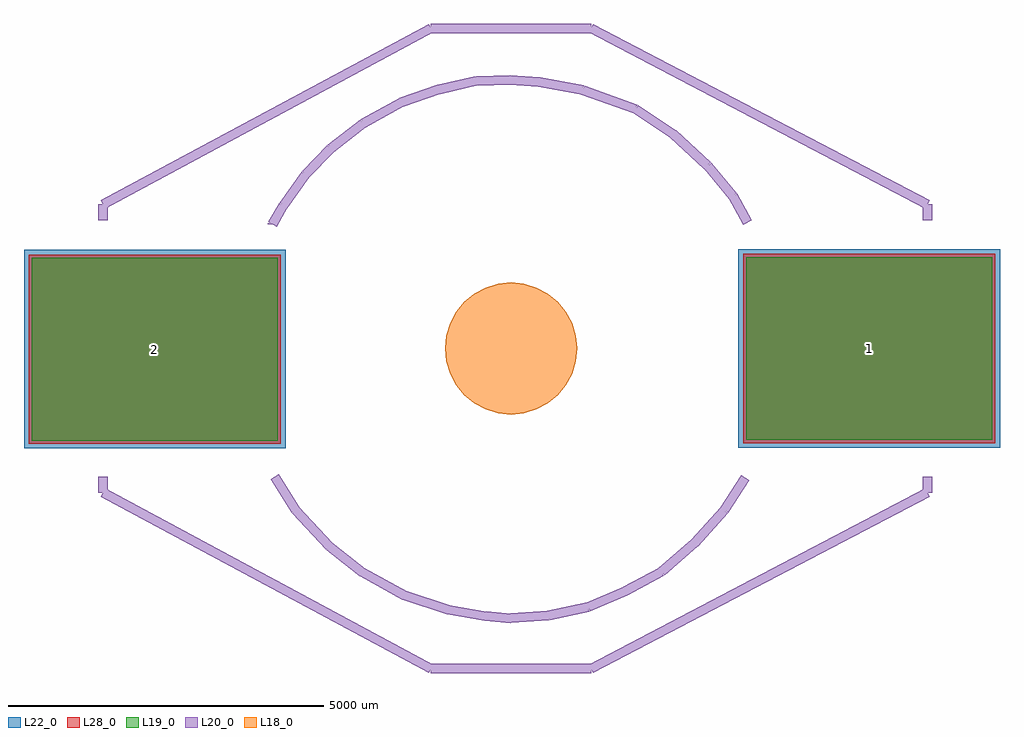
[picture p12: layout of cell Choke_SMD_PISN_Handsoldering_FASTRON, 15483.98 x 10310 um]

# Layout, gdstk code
import gdstk
lib = gdstk.Library(unit=1e-6, precision=1e-09)
def R(c, l, rs):  # rectangles x0, y0, x1, y1
    for r in rs: c.add(gdstk.rectangle(r[:2], r[2:], *l))
def P(c, l, *ps):  # polygons
    for p in ps: c.add(gdstk.Polygon(p, *l))
L18_0 = (18, 0)
L19_0 = (19, 0)
L20_0 = (20, 0)
L22_0 = (22, 0)
L28_0 = (28, 0)

choke_smd_pisn_handsolde = lib.new_cell('Choke_SMD_PISN_Handsoldering_FASTRON')
P(choke_smd_pisn_handsolde, L18_0, [(254,0),(249.119,49.553),(234.665,97.202),(211.193,141.115),(179.605,179.605),(141.115,211.193),(97.202,234.665),(49.553,249.119),(0,254),(-49.553,249.119),(-97.202,234.665),(-141.115,211.193),(-179.605,179.605),(-211.193,141.115),(-234.665,97.202),(-249.119,49.553),(-254,0),(-249.119,-49.553),(-234.665,-97.202),(-211.193,-141.115),(-179.605,-179.605),(-141.115,-211.193),(-97.202,-234.665),(-49.553,-249.119),(0,-254),(49.553,-249.119),(97.202,-234.665),(141.115,-211.193),(179.605,-179.605),(211.193,-141.115),(234.665,-97.202),(249.119,-49.553)],
  [(508,0),(498.239,99.106),(469.331,194.403),(422.387,282.23),(359.21,359.21),(282.23,422.387),(194.403,469.331),(99.106,498.239),(0,508),(-99.106,498.239),(-194.403,469.331),(-282.23,422.387),(-359.21,359.21),(-422.387,282.23),(-469.331,194.403),(-498.239,99.106),(-508,0),(-498.239,-99.106),(-469.331,-194.403),(-422.387,-282.23),(-359.21,-359.21),(-282.23,-422.387),(-194.403,-469.331),(-99.106,-498.239),(0,-508),(99.106,-498.239),(194.403,-469.331),(282.23,-422.387),(359.21,-359.21),(422.387,-282.23),(469.331,-194.403),(498.239,-99.106)],
  [(803.218,0),(787.784,156.7),(742.077,307.378),(667.851,446.244),(567.961,567.961),(446.244,667.851),(307.378,742.077),(156.7,787.784),(0,803.218),(-156.7,787.784),(-307.378,742.077),(-446.244,667.851),(-567.961,567.961),(-667.851,446.244),(-742.077,307.378),(-787.784,156.7),(-803.218,0),(-787.784,-156.7),(-742.077,-307.378),(-667.851,-446.244),(-567.961,-567.961),(-446.244,-667.851),(-307.378,-742.077),(-156.7,-787.784),(0,-803.218),(156.7,-787.784),(307.378,-742.077),(446.244,-667.851),(567.961,-567.961),(667.851,-446.244),(742.077,-307.378),(787.784,-156.7)],
  [(1047.268,0),(1027.145,204.312),(967.549,400.772),(870.772,581.831),(740.53,740.53),(581.831,870.772),(400.772,967.549),(204.312,1027.145),(0,1047.268),(-204.312,1027.145),(-400.772,967.549),(-581.831,870.772),(-740.53,740.53),(-870.772,581.831),(-967.549,400.772),(-1027.145,204.312),(-1047.268,0),(-1027.145,-204.312),(-967.549,-400.772),(-870.772,-581.831),(-740.53,-740.53),(-581.831,-870.772),(-400.772,-967.549),(-204.312,-1027.145),(0,-1047.268),(204.312,-1027.145),(400.772,-967.549),(581.831,-870.772),(740.53,-740.53),(870.772,-581.831),(967.549,-400.772),(1027.145,-204.312)])
R(choke_smd_pisn_handsolde, L19_0, [(-7601.75,-1460.03,-3701.25,1439.71), (3731.73,-1449.87,7632.23,1449.87)])
R(choke_smd_pisn_handsolde, L22_0, [(-7726.75,-1585.03,-3576.25,1564.71), (3606.73,-1574.87,7757.23,1574.87)])
R(choke_smd_pisn_handsolde, L28_0, [(-7651.75,-1510.03,-3651.25,1489.71), (3681.73,-1499.87,7682.23,1499.87)])
choke_smd_pisn_handsolde.add(gdstk.FlexPath([(-1270,5080),(-6477,2286)], 149.998, ends="flush", simple_path=True, layer=20, datatype=0))  # L20_0
choke_smd_pisn_handsolde.add(gdstk.FlexPath([(-6477,2286),(-6477,2032)], 149.998, ends="flush", simple_path=True, layer=20, datatype=0))  # L20_0
choke_smd_pisn_handsolde.add(gdstk.FlexPath([(6604,2286),(6604,2032)], 149.998, ends="flush", simple_path=True, layer=20, datatype=0))  # L20_0
choke_smd_pisn_handsolde.add(gdstk.FlexPath([(1270,5080),(6604,2286)], 149.998, ends="flush", simple_path=True, layer=20, datatype=0))  # L20_0
choke_smd_pisn_handsolde.add(gdstk.FlexPath([(-6477,-2286),(-6477,-2032)], 149.998, ends="flush", simple_path=True, layer=20, datatype=0))  # L20_0
choke_smd_pisn_handsolde.add(gdstk.FlexPath([(-1270,-5080),(-6477,-2286)], 149.998, ends="flush", simple_path=True, layer=20, datatype=0))  # L20_0
choke_smd_pisn_handsolde.add(gdstk.FlexPath([(6604,-2286),(6604,-2032)], 149.998, ends="flush", simple_path=True, layer=20, datatype=0))  # L20_0
choke_smd_pisn_handsolde.add(gdstk.FlexPath([(1270,-5080),(6604,-2286)], 149.998, ends="flush", simple_path=True, layer=20, datatype=0))  # L20_0
choke_smd_pisn_handsolde.add(gdstk.FlexPath([(-1270,-5080),(1270,-5080)], 149.998, ends="flush", simple_path=True, layer=20, datatype=0))  # L20_0
choke_smd_pisn_handsolde.add(gdstk.FlexPath([(-1270,5080),(1270,5080)], 149.998, ends="flush", simple_path=True, layer=20, datatype=0))  # L20_0
choke_smd_pisn_handsolde.add(gdstk.FlexPath([(3383.28,-2565.4),(3713.48,-2052.32)], 149.998, ends="flush", simple_path=True, layer=20, datatype=0))  # L20_0
choke_smd_pisn_handsolde.add(gdstk.FlexPath([(2915.92,-3083.56),(3383.28,-2565.4)], 149.998, ends="flush", simple_path=True, layer=20, datatype=0))  # L20_0
choke_smd_pisn_handsolde.add(gdstk.FlexPath([(2387.6,-3540.76),(2915.92,-3083.56)], 149.998, ends="flush", simple_path=True, layer=20, datatype=0))  # L20_0
choke_smd_pisn_handsolde.add(gdstk.FlexPath([(1818.64,-3845.56),(2387.6,-3540.76)], 149.998, ends="flush", simple_path=True, layer=20, datatype=0))  # L20_0
choke_smd_pisn_handsolde.add(gdstk.FlexPath([(1224.28,-4099.56),(1818.64,-3845.56)], 149.998, ends="flush", simple_path=True, layer=20, datatype=0))  # L20_0
choke_smd_pisn_handsolde.add(gdstk.FlexPath([(594.36,-4236.72),(1224.28,-4099.56)], 149.998, ends="flush", simple_path=True, layer=20, datatype=0))  # L20_0
choke_smd_pisn_handsolde.add(gdstk.FlexPath([(0,-4272.28),(594.36,-4236.72)], 149.998, ends="flush", simple_path=True, layer=20, datatype=0))  # L20_0
choke_smd_pisn_handsolde.add(gdstk.FlexPath([(-3418.84,-2565.4),(-3749.04,-2032)], 149.998, ends="flush", simple_path=True, layer=20, datatype=0))  # L20_0
choke_smd_pisn_handsolde.add(gdstk.FlexPath([(-2880.36,-3139.44),(-3418.84,-2565.4)], 149.998, ends="flush", simple_path=True, layer=20, datatype=0))  # L20_0
choke_smd_pisn_handsolde.add(gdstk.FlexPath([(-2357.12,-3550.92),(-2880.36,-3139.44)], 149.998, ends="flush", simple_path=True, layer=20, datatype=0))  # L20_0
choke_smd_pisn_handsolde.add(gdstk.FlexPath([(-1691.64,-3916.68),(-2357.12,-3550.92)], 149.998, ends="flush", simple_path=True, layer=20, datatype=0))  # L20_0
choke_smd_pisn_handsolde.add(gdstk.FlexPath([(-995.68,-4145.28),(-1691.64,-3916.68)], 149.998, ends="flush", simple_path=True, layer=20, datatype=0))  # L20_0
choke_smd_pisn_handsolde.add(gdstk.FlexPath([(-401.32,-4246.88),(-995.68,-4145.28)], 149.998, ends="flush", simple_path=True, layer=20, datatype=0))  # L20_0
choke_smd_pisn_handsolde.add(gdstk.FlexPath([(0,-4282.44),(-401.32,-4246.88)], 149.998, ends="flush", simple_path=True, layer=20, datatype=0))  # L20_0
choke_smd_pisn_handsolde.add(gdstk.FlexPath([(3520.44,2418.08),(3749.04,1996.44)], 149.998, ends="flush", simple_path=True, layer=20, datatype=0))  # L20_0
choke_smd_pisn_handsolde.add(gdstk.FlexPath([(3119.12,2900.68),(3520.44,2418.08)], 149.998, ends="flush", simple_path=True, layer=20, datatype=0))  # L20_0
choke_smd_pisn_handsolde.add(gdstk.FlexPath([(2570.48,3403.6),(3119.12,2900.68)], 149.998, ends="flush", simple_path=True, layer=20, datatype=0))  # L20_0
choke_smd_pisn_handsolde.add(gdstk.FlexPath([(1976.12,3799.84),(2570.48,3403.6)], 149.998, ends="flush", simple_path=True, layer=20, datatype=0))  # L20_0
choke_smd_pisn_handsolde.add(gdstk.FlexPath([(1143,4099.56),(1976.12,3799.84)], 149.998, ends="flush", simple_path=True, layer=20, datatype=0))  # L20_0
choke_smd_pisn_handsolde.add(gdstk.FlexPath([(447.04,4226.56),(1143,4099.56)], 149.998, ends="flush", simple_path=True, layer=20, datatype=0))  # L20_0
choke_smd_pisn_handsolde.add(gdstk.FlexPath([(-25.4,4257.04),(447.04,4226.56)], 149.998, ends="flush", simple_path=True, layer=20, datatype=0))  # L20_0
choke_smd_pisn_handsolde.add(gdstk.FlexPath([(-3784.6,1971.04),(-3784.6,1986.28)], 149.998, ends="flush", simple_path=True, layer=20, datatype=0))  # L20_0
choke_smd_pisn_handsolde.add(gdstk.FlexPath([(-3611.88,2270.76),(-3784.6,1971.04)], 149.998, ends="flush", simple_path=True, layer=20, datatype=0))  # L20_0
choke_smd_pisn_handsolde.add(gdstk.FlexPath([(-3261.36,2763.52),(-3611.88,2270.76)], 149.998, ends="flush", simple_path=True, layer=20, datatype=0))  # L20_0
choke_smd_pisn_handsolde.add(gdstk.FlexPath([(-2860.04,3175),(-3261.36,2763.52)], 149.998, ends="flush", simple_path=True, layer=20, datatype=0))  # L20_0
choke_smd_pisn_handsolde.add(gdstk.FlexPath([(-2346.96,3571.24),(-2860.04,3175)], 149.998, ends="flush", simple_path=True, layer=20, datatype=0))  # L20_0
choke_smd_pisn_handsolde.add(gdstk.FlexPath([(-1737.36,3906.52),(-2346.96,3571.24)], 149.998, ends="flush", simple_path=True, layer=20, datatype=0))  # L20_0
choke_smd_pisn_handsolde.add(gdstk.FlexPath([(-1143,4109.72),(-1737.36,3906.52)], 149.998, ends="flush", simple_path=True, layer=20, datatype=0))  # L20_0
choke_smd_pisn_handsolde.add(gdstk.FlexPath([(-548.64,4246.88),(-1143,4109.72)], 149.998, ends="flush", simple_path=True, layer=20, datatype=0))  # L20_0
choke_smd_pisn_handsolde.add(gdstk.FlexPath([(0,4257.04),(-548.64,4246.88)], 149.998, ends="flush", simple_path=True, layer=20, datatype=0))  # L20_0
choke_smd_pisn_handsolde.add(gdstk.FlexPath([(0,254),(0,-254)], 380.998, ends="flush", simple_path=True, layer=18, datatype=0))  # L18_0
choke_smd_pisn_handsolde.add(gdstk.Label('1', (5681.98,0), layer=28, texttype=0))
choke_smd_pisn_handsolde.add(gdstk.Label('2', (-5651.5,-10.16), layer=28, texttype=0))
choke_smd_pisn_handsolde.add(gdstk.Label('type', (1270,-7620), layer=9, texttype=0))
choke_smd_pisn_handsolde.add(gdstk.Label('devicename', (0,6350), layer=9, texttype=0))

lib.write_gds('Choke_SMD_PISN_Handsoldering_FASTRON.gds')
